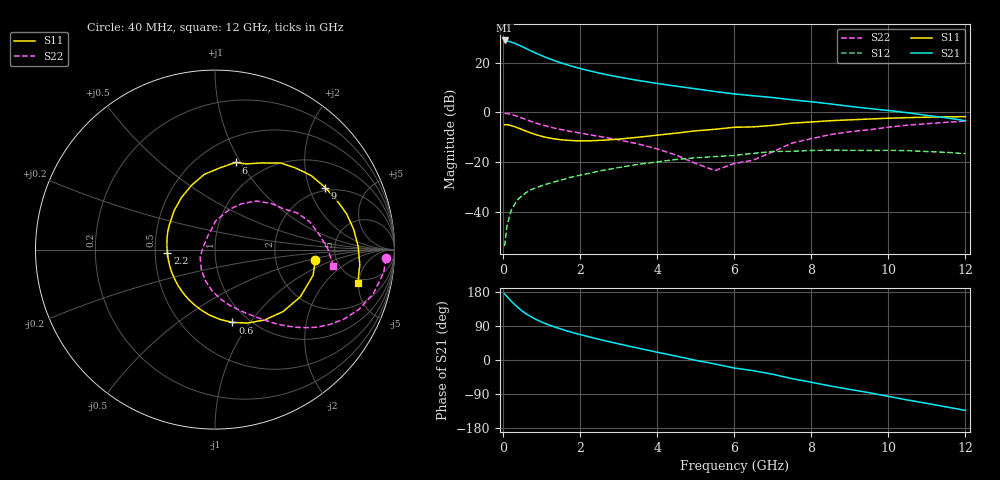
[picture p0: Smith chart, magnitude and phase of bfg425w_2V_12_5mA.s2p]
! Filename: 212bfg425.001
! BFG425W Field C1
! V1=8.516E-001V,V2=2.000E+000V, I1=1.713E-004A, I2=1.249E-002A
# GHz  S  MA  R 50
!  S11  S21  S12  S22
!Freq(GHz)  Mag  Ang  Mag  Ang  Mag  Ang  Mag  Ang
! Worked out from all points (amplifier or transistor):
!   44 points, 40 MHz to 12 GHz, reference 50 ohm
!   highest |S21| = 29.0 dB at 40 MHz (marker M1)
!   |S21| within 3 dB of that: start of sweep to 565.1 MHz
!   unconditionally stable (mu >= 1): 1.695 GHz to end of sweep
!   at 700 MHz: K = 0.60, MSG = 28.2 dB, |S12| = -31.4 dB
!   at 2.4 GHz: K = 1.13, MAG = 17.9 dB, |S12| = -24.0 dB
!   at 12 GHz: K = 1.37, MAG = 3.0 dB, |S12| = -16.7 dB
!   S11 on the Smith chart (normalised r, x): 40 MHz: 3.46, -0.57; 600 MHz: 0.84, -0.83; 2.2 GHz: 0.58, -0.02; 6 GHz: 0.74, +0.95; 9 GHz: 1.88, +2.58; 12 GHz: 4.38, -4.87
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0.04  0.562 -5.7  28.12 174.5  0.002 78.9  0.955 -2.9
0.1  0.565 -14.7  27.44 167.7  0.005 83.9  0.948 -7.9
0.2  0.543 -29.1  26.26 156.5  0.01 76.4  0.915 -15.7
0.3  0.513 -42.3  24.66 146.6  0.014 71.4  0.868 -22.6
0.4  0.48 -54.8  22.87 137.3  0.018 66.5  0.815 -28.5
0.5  0.447 -66.3  21.07 128.9  0.021 63.0  0.761 -33.3
0.6  0.417 -76.6  19.31 121.9  0.024 60.2  0.712 -37.4
0.8  0.366 -94.8  16.3 110.0  0.029 56.2  0.626 -43.7
0.9  0.346 -102.7  15.04 104.9  0.031 54.9  0.591 -46.3
1  0.329 -110.3  13.91 100.3  0.033 53.7  0.561 -48.5
1.2  0.304 -123.9  12.05 92.1  0.037 51.9  0.51 -52.5
1.6  0.275 -147.6  9.404 78.6  0.045 49.0  0.434 -59.2
2.2  0.266 -176.4  6.994 61.9  0.058 44.1  0.358 -69.0
3  0.288 152.7  5.152 42.6  0.077 35.8  0.278 -83.4
3.5  0.314 136.7  4.401 31.4  0.089 29.6  0.231 -93.9
4.5  0.381 110.1  3.362 10.0  0.112 15.5  0.137 -123.5
6  0.499 76.7  2.347 -21.1  0.135 -8.4  0.093 112.6
6.5  0.509 69.8  2.153 -28.3  0.149 -11.5  0.109 102.0
8.5  0.677 37.4  1.477 -68.7  0.173 -48.2  0.356 49.6
9  0.705 29.3  1.319 -77.6  0.171 -56.3  0.406 39.2
10.5  0.781 8.3  0.981 -105.6  0.169 -83.0  0.551 16.3
12  0.817 -13.1  0.677 -132.8  0.147 -112.6  0.665 -7.7
